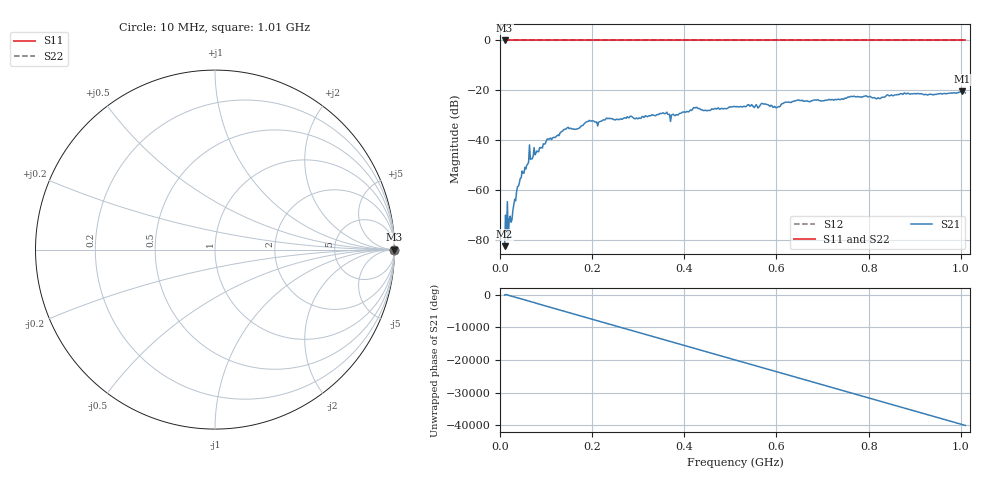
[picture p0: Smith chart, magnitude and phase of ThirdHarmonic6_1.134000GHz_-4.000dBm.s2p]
! 8/16/2025 11:03:34 AM
! C:\ANRITSUVNA\TEMP\TEMP.S2P
! CHANNEL.1
! TR.MEASUREMENT
! RAW.DATA
! RF.CORRECTION.OFF
! AVERAGING.OFF
! IF.BANDWIDTH: 5KHZ
! SWEEPTYPE:  FREQ.SWEEP(Linear)
! Reference Plane Port Info
! PORT:  PORT1  PORT2
! DISTANCE:  0  m  0  m
! TIME:  0  s  0  s
! PHASE.OFFSET:  0  deg.  0  deg.
! LOSS:  0  dB  0  dB
! REF.LOSS:  0  dB  0  dB
! REF.FREQ:  0  Hz  0  Hz
! Power Info
! POWER:  -20  dBm  -20  dBm
! EFF.POWER:  -20  dBm  -20  dBm
! SOURCE.ATTEN:  0  dB  0  dB
! TEST.ATTEN:  0  dB  0  dB
# GHZ S RI R 50.0
! FREQ.GHZ  S11RE  S11IM  S21RE  S21IM  S12RE  S12IM  S22RE  S22IM
!; PortSelection: Port_12
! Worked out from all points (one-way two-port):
!   501 points, 10 MHz to 1.01 GHz, reference 50 ohm
!   highest |S21| = -20.39 dB at 1.002 GHz (marker M1); lowest = -82.4 dB at 10 MHz (marker M2)
!   lowest |S11| = 0.0 dB at 10 MHz (marker M3)
!   |S11| at or under -10 dB: nowhere
!   |S22| runs from 0.0 to 0.0 dB; largest |S21 - S12| = 1.1
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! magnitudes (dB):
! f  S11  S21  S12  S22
! 10 MHz  0.0  -82.4  0.0  0.0
! 12 MHz  0.0  -70.0  0.0  0.0
! 16 MHz  0.0  -64.5  0.0  0.0
! 22 MHz  0.0  -70.4  0.0  0.0
! 40 MHz  0.0  -58.3  0.0  0.0
! 64 MHz  0.0  -41.8  0.0  0.0
! 106 MHz  0.0  -39.6  0.0  0.0
! 144 MHz  0.0  -35.3  0.0  0.0
! 178 MHz  0.0  -34.1  0.0  0.0
! 194 MHz  0.0  -32.0  0.0  0.0
! 344 MHz  0.0  -29.7  0.0  0.0
! 374 MHz  0.0  -29.7  0.0  0.0
! 424 MHz  0.0  -27.0  0.0  0.0
! 452 MHz  0.0  -28.0  0.0  0.0
! 510 MHz  0.0  -26.5  0.0  0.0
! 572 MHz  0.0  -25.5  0.0  0.0
! 602 MHz  0.0  -26.7  0.0  0.0
! 620 MHz  0.0  -24.7  0.0  0.0
! 678 MHz  0.0  -24.1  0.0  0.0
! 844 MHz  0.0  -22.1  0.0  0.0
! 1.002 GHz  0.0  -20.4  0.0  0.0
! 1.01 GHz  0.0  -21.0  0.0  0.0
